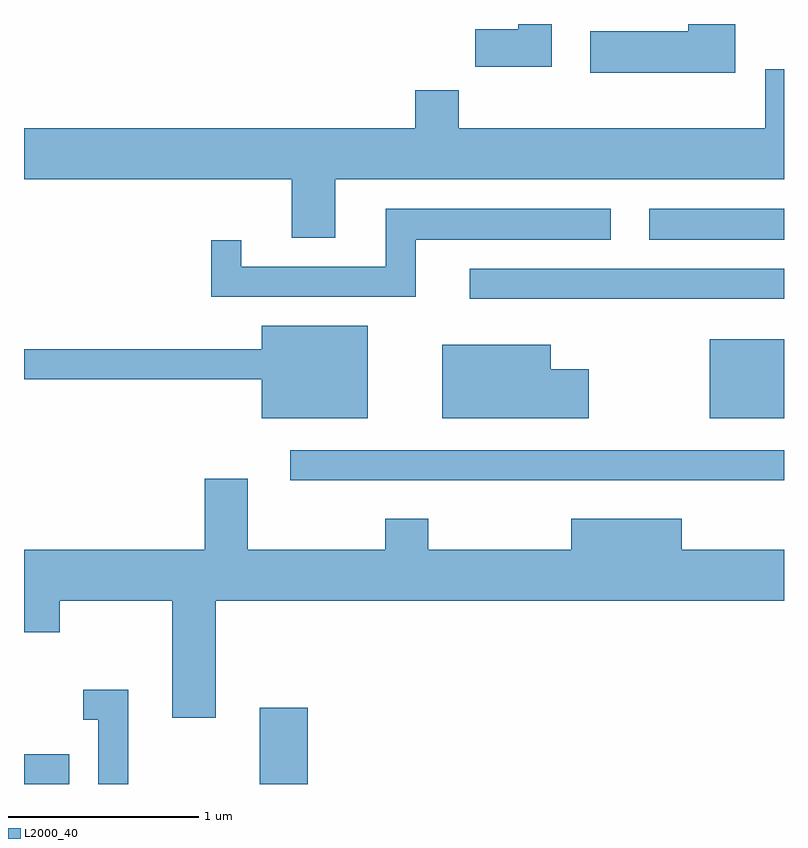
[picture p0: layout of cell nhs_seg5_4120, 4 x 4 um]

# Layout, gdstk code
import gdstk
lib = gdstk.Library(unit=1e-6, precision=1e-09)
def R(c, l, rs):  # rectangles x0, y0, x1, y1
    for r in rs: c.add(gdstk.rectangle(r[:2], r[2:], *l))
def P(c, l, *ps):  # polygons
    for p in ps: c.add(gdstk.Polygon(p, *l))
L2000_40 = (2000, 40)

nhs_seg5_4120 = lib.new_cell('nhs_seg5_4120')
R(nhs_seg5_4120, L2000_40, [(307.611,1438.072,307.849,1438.229), (308.851,1438.072,309.104,1438.474), (309.013,1439.671,311.611,1439.829), (311.221,1439.996,311.611,1440.414), (309.958,1440.626,311.611,1440.784), (310.903,1440.936,311.611,1441.099)])
P(nhs_seg5_4120, L2000_40, [(311.354,1442.072),(311.106,1442.072),(311.106,1442.034),(310.591,1442.034),(310.591,1441.816),(311.354,1441.816)],
  [(310.389,1442.072),(310.211,1442.072),(310.211,1442.044),(309.986,1442.044),(309.986,1441.846),(310.389,1441.846)],
  [(309.249,1441.256),(311.611,1441.256),(311.611,1441.834),(311.511,1441.834),(311.511,1441.524),(309.899,1441.524),(309.899,1441.724),(309.671,1441.724),(309.671,1441.524),(307.611,1441.524),(307.611,1441.256),(309.021,1441.256),(309.021,1440.946),(309.249,1440.946)],
  [(309.674,1440.936),(310.698,1440.936),(310.698,1441.099),(309.516,1441.099),(309.516,1440.794),(308.754,1440.794),(308.754,1440.933),(308.596,1440.933),(308.596,1440.636),(309.674,1440.636)],
  [(309.419,1440.484),(308.861,1440.484),(308.861,1440.359),(307.611,1440.359),(307.611,1440.201),(308.861,1440.201),(308.861,1439.996),(309.419,1439.996)],
  [(310.584,1440.254),(310.384,1440.254),(310.384,1440.384),(309.811,1440.384),(309.811,1439.996),(310.584,1439.996)],
  [(308.619,1439.036),(311.611,1439.036),(311.611,1439.304),(311.074,1439.304),(311.074,1439.469),(310.491,1439.469),(310.491,1439.304),(309.739,1439.304),(309.739,1439.469),(309.511,1439.469),(309.511,1439.304),(308.789,1439.304),(308.789,1439.679),(308.561,1439.679),(308.561,1439.304),(307.611,1439.304),(307.611,1438.871),(307.799,1438.871),(307.799,1439.036),(308.391,1439.036),(308.391,1438.421),(308.619,1438.421)],
  [(308.159,1438.569),(307.923,1438.569),(307.923,1438.411),(308.001,1438.411),(308.001,1438.072),(308.159,1438.072)])

lib.write_gds('nhs_seg5_4120.gds')
